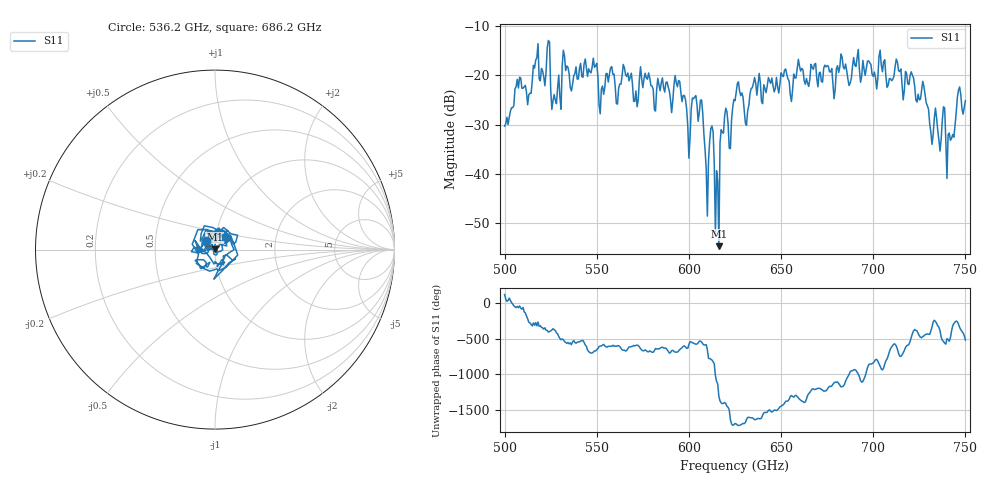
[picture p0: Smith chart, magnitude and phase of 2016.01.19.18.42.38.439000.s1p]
!Created with skrf (http://scikit-rf.org).
# GHz S RI R 50.0
!freq ReS11 ImS11
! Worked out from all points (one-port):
!   401 points, 500 GHz to 750 GHz, reference 50 ohm
!   lowest |S11| = -54.6 dB at 616.2 GHz (marker M1), VSWR 1.00, Z = 49.9 + j0.133 ohm
!   |S11| at or under -10 dB: start of sweep to end of sweep
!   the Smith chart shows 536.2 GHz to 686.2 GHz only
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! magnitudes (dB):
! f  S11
! 500 GHz  -30.3
! 507.5 GHz  -22.6
! 513.8 GHz  -23.6
! 516.9 GHz  -16.9
! 523.8 GHz  -12.9
! 526.9 GHz  -23.9
! 531.2 GHz  -18.1
! 562.5 GHz  -21.8
! 593.8 GHz  -22.3
! 600 GHz  -36.8
! 602.5 GHz  -24.8
! 606.9 GHz  -25.0
! 609.4 GHz  -38.9
! 612.5 GHz  -30.3
! 615 GHz  -39.4
! 616.2 GHz  -54.6
! 618.8 GHz  -31.7
! 622.5 GHz  -34.9
! 625 GHz  -25.2
! 631.2 GHz  -30.2
! 635 GHz  -21.6
! 656.2 GHz  -22.9
! 660 GHz  -18.1
! 687.5 GHz  -21.5
! 718.8 GHz  -21.8
! 740.6 GHz  -32.0
! 746.2 GHz  -23.0
! 750 GHz  -25.1
